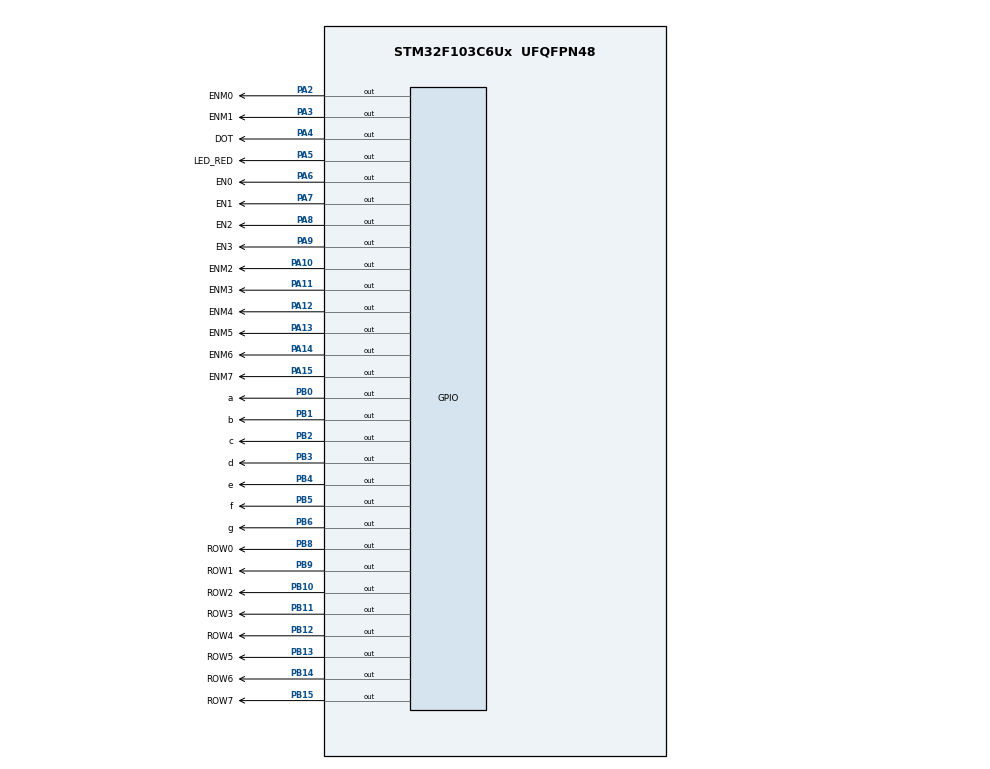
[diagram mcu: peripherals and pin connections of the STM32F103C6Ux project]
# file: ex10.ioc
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Mcu.Family=STM32F1
Mcu.Name=STM32F103C6Ux
Mcu.Package=UFQFPN48
NVIC.PriorityGroup=NVIC_PRIORITYGROUP_4
NVIC.TIM2_IRQn=true\:0\:0\:false\:false\:true\:true\:true
PA10.GPIO_Label=ENM2
PA10.Signal=GPIO_Output
PA11.GPIO_Label=ENM3
PA11.Signal=GPIO_Output
PA12.GPIO_Label=ENM4
PA12.Signal=GPIO_Output
PA13.GPIO_Label=ENM5
PA13.Signal=GPIO_Output
PA14.GPIO_Label=ENM6
PA14.Signal=GPIO_Output
PA15.GPIO_Label=ENM7
PA15.Signal=GPIO_Output
PA2.GPIO_Label=ENM0
PA2.Signal=GPIO_Output
PA3.GPIO_Label=ENM1
PA3.Signal=GPIO_Output
PA4.GPIO_Label=DOT
PA4.Signal=GPIO_Output
PA5.GPIO_Label=LED_RED
PA5.Signal=GPIO_Output
PA6.GPIO_Label=EN0
PA6.Signal=GPIO_Output
PA7.GPIO_Label=EN1
PA7.Signal=GPIO_Output
PA8.GPIO_Label=EN2
PA8.Signal=GPIO_Output
PA9.GPIO_Label=EN3
PA9.Signal=GPIO_Output
PB0.GPIO_Label=a
PB0.Signal=GPIO_Output
PB1.GPIO_Label=b
PB1.Signal=GPIO_Output
PB10.GPIO_Label=ROW2
PB10.Signal=GPIO_Output
PB11.GPIO_Label=ROW3
PB11.Signal=GPIO_Output
PB12.GPIO_Label=ROW4
PB12.Signal=GPIO_Output
PB13.GPIO_Label=ROW5
PB13.Signal=GPIO_Output
PB14.GPIO_Label=ROW6
PB14.Signal=GPIO_Output
PB15.GPIO_Label=ROW7
PB15.Signal=GPIO_Output
PB2.GPIO_Label=c
PB2.Signal=GPIO_Output
PB3.GPIO_Label=d
PB3.Signal=GPIO_Output
PB4.GPIO_Label=e
PB4.Signal=GPIO_Output
PB5.GPIO_Label=f
PB5.Signal=GPIO_Output
PB6.GPIO_Label=g
PB6.Signal=GPIO_Output
PB8.GPIO_Label=ROW0
PB8.Signal=GPIO_Output
PB9.GPIO_Label=ROW1
PB9.Signal=GPIO_Output
ProjectManager.HeapSize=0x200
ProjectManager.StackSize=0x400
ProjectManager.TargetToolchain=STM32CubeIDE
RCC.APB1Freq_Value=8000000
RCC.APB2Freq_Value=8000000
TIM2.Period=9
TIM2.Prescaler=7999
VP_SYS_VS_ND.Mode=No_Debug
VP_TIM2_VS_ClockSourceINT.Mode=Internal
board=custom

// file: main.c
/* USER CODE BEGIN Header */
/**
  ******************************************************************************
  * @file           : main.c
  * @brief          : Main program body
  ******************************************************************************
  * @attention
  *
  * <h2><center>&copy; Copyright (c) 2022 STMicroelectronics.
  * All rights reserved.</center></h2>
  *
  * This software component is licensed by ST under BSD 3-Clause license,
  * the "License"; You may not use this file except in compliance with the
  * License. You may obtain a copy of the License at:
  *                        opensource.org/licenses/BSD-3-Clause
  *
  ******************************************************************************
  */
/* USER CODE END Header */
#include "main.h"

TIM_HandleTypeDef htim2;

void SystemClock_Config(void);
static void MX_GPIO_Init(void);
static void MX_TIM2_Init(void);

/* USER CODE BEGIN 0 */
int timer0_counter = 0;
int timer0_flag = 0;
int timer1_counter = 0;
int timer1_flag = 0;
int TIMER_CYCLE = 10;
int index_led = 0;
int index_led_matrix = 0;

int i = 0;
int j;
void setTimer0(int duration){
	timer0_counter = duration/TIMER_CYCLE;
	timer0_flag= 0;
}
void timer_run0(){
	if (timer0_counter > 0){
		timer0_counter--;
		if (timer0_counter == 0) timer0_flag = 1;
	}
}
void setTimer1(int duration){
	timer1_counter = duration/TIMER_CYCLE;
	timer1_flag= 0;
}
void timer_run1(){
	if (timer1_counter > 0){
		timer1_counter--;
		if (timer1_counter == 0) timer1_flag = 1;
	}
}
/* USER CODE END 0 */

int main(void)
{

  /* MCU Configuration--------------------------------------------------------*/

  /* Reset of all peripherals, Initializes the Flash interface and the Systick. */
  HAL_Init();

  /* Configure the system clock */
  SystemClock_Config();

  /* Initialize all configured peripherals */
  MX_GPIO_Init();
  MX_TIM2_Init();
  /* USER CODE BEGIN 2 */
  HAL_TIM_Base_Start_IT(&htim2);
  /* USER CODE END 2 */

  /* Infinite loop */
  /* USER CODE BEGIN WHILE */
    setTimer0(50);
    setTimer1(500);
    while (1)
    {
    /* USER CODE END WHILE */
     if(timer0_flag == 1){
    	 shift_right(index_led_matrix++,j++);
    	 setTimer0(50);
     }
     if (timer1_flag == 1){
    	 i++;
    	 setTimer1(500);
     }
     if (i == 7) i=0;

    }
}

void SystemClock_Config(void)
{
  RCC_OscInitTypeDef RCC_OscInitStruct = {0};
  RCC_ClkInitTypeDef RCC_ClkInitStruct = {0};

  /** Initializes the RCC Oscillators according to the specified parameters
  * in the RCC_OscInitTypeDef structure.
  */
  RCC_OscInitStruct.OscillatorType = RCC_OSCILLATORTYPE_HSI;
  RCC_OscInitStruct.HSIState = RCC_HSI_ON;
  RCC_OscInitStruct.HSICalibrationValue = RCC_HSICALIBRATION_DEFAULT;
  RCC_OscInitStruct.PLL.PLLState = RCC_PLL_NONE;
  if (HAL_RCC_OscConfig(&RCC_OscInitStruct) != HAL_OK)
  {
    Error_Handler();
  }
  /** Initializes the CPU, AHB and APB buses clocks
  */
  RCC_ClkInitStruct.ClockType = RCC_CLOCKTYPE_HCLK|RCC_CLOCKTYPE_SYSCLK
                              |RCC_CLOCKTYPE_PCLK1|RCC_CLOCKTYPE_PCLK2;
  RCC_ClkInitStruct.SYSCLKSource = RCC_SYSCLKSOURCE_HSI;
  RCC_ClkInitStruct.AHBCLKDivider = RCC_SYSCLK_DIV1;
  RCC_ClkInitStruct.APB1CLKDivider = RCC_HCLK_DIV1;
  RCC_ClkInitStruct.APB2CLKDivider = RCC_HCLK_DIV1;

  if (HAL_RCC_ClockConfig(&RCC_ClkInitStruct, FLASH_LATENCY_0) != HAL_OK)
  {
    Error_Handler();
  }
}

static void MX_TIM2_Init(void)
{

  TIM_ClockConfigTypeDef sClockSourceConfig = {0};
  TIM_MasterConfigTypeDef sMasterConfig = {0};

  htim2.Instance = TIM2;
  htim2.Init.Prescaler = 7999;
  htim2.Init.CounterMode = TIM_COUNTERMODE_UP;
  htim2.Init.Period = 9;
  htim2.Init.ClockDivision = TIM_CLOCKDIVISION_DIV1;
  htim2.Init.AutoReloadPreload = TIM_AUTORELOAD_PRELOAD_DISABLE;
  if (HAL_TIM_Base_Init(&htim2) != HAL_OK)
  {
    Error_Handler();
  }
  sClockSourceConfig.ClockSource = TIM_CLOCKSOURCE_INTERNAL;
  if (HAL_TIM_ConfigClockSource(&htim2, &sClockSourceConfig) != HAL_OK)
  {
    Error_Handler();
  }
  sMasterConfig.MasterOutputTrigger = TIM_TRGO_RESET;
  sMasterConfig.MasterSlaveMode = TIM_MASTERSLAVEMODE_DISABLE;
  if (HAL_TIMEx_MasterConfigSynchronization(&htim2, &sMasterConfig) != HAL_OK)
  {
    Error_Handler();
  }

}

static void MX_GPIO_Init(void)
{
  GPIO_InitTypeDef GPIO_InitStruct = {0};

  /* GPIO Ports Clock Enable */
  __HAL_RCC_GPIOA_CLK_ENABLE();
  __HAL_RCC_GPIOB_CLK_ENABLE();

  /*Configure GPIO pin Output Level */
  HAL_GPIO_WritePin(GPIOA, ENM0_Pin|ENM1_Pin|DOT_Pin|LED_RED_Pin
                          |EN0_Pin|EN1_Pin|EN2_Pin|EN3_Pin
                          |ENM2_Pin|ENM3_Pin|ENM4_Pin|ENM5_Pin
                          |ENM6_Pin|ENM7_Pin, GPIO_PIN_RESET);

  /*Configure GPIO pin Output Level */
  HAL_GPIO_WritePin(GPIOB, a_Pin|b_Pin|c_Pin|ROW2_Pin
                          |ROW3_Pin|ROW4_Pin|ROW5_Pin|ROW6_Pin
                          |ROW7_Pin|d_Pin|e_Pin|f_Pin
                          |g_Pin|ROW0_Pin|ROW1_Pin, GPIO_PIN_RESET);

  /*Configure GPIO pins : ENM0_Pin ENM1_Pin DOT_Pin LED_RED_Pin
                           EN0_Pin EN1_Pin EN2_Pin EN3_Pin
                           ENM2_Pin ENM3_Pin ENM4_Pin ENM5_Pin
                           ENM6_Pin ENM7_Pin */
  GPIO_InitStruct.Pin = ENM0_Pin|ENM1_Pin|DOT_Pin|LED_RED_Pin
                          |EN0_Pin|EN1_Pin|EN2_Pin|EN3_Pin
                          |ENM2_Pin|ENM3_Pin|ENM4_Pin|ENM5_Pin
                          |ENM6_Pin|ENM7_Pin;
  GPIO_InitStruct.Mode = GPIO_MODE_OUTPUT_PP;
  GPIO_InitStruct.Pull = GPIO_NOPULL;
  GPIO_InitStruct.Speed = GPIO_SPEED_FREQ_LOW;
  HAL_GPIO_Init(GPIOA, &GPIO_InitStruct);

  /*Configure GPIO pins : a_Pin b_Pin c_Pin ROW2_Pin
                           ROW3_Pin ROW4_Pin ROW5_Pin ROW6_Pin
                           ROW7_Pin d_Pin e_Pin f_Pin
                           g_Pin ROW0_Pin ROW1_Pin */
  GPIO_InitStruct.Pin = a_Pin|b_Pin|c_Pin|ROW2_Pin
                          |ROW3_Pin|ROW4_Pin|ROW5_Pin|ROW6_Pin
                          |ROW7_Pin|d_Pin|e_Pin|f_Pin
                          |g_Pin|ROW0_Pin|ROW1_Pin;
  GPIO_InitStruct.Mode = GPIO_MODE_OUTPUT_PP;
  GPIO_InitStruct.Pull = GPIO_NOPULL;
  GPIO_InitStruct.Speed = GPIO_SPEED_FREQ_LOW;
  HAL_GPIO_Init(GPIOB, &GPIO_InitStruct);

}

/* USER CODE BEGIN 4 */
const int MAX_LED_MATRIX = 8;
uint16_t matrix_buffer[16] = {0x0100 , 0x0200 , 0x0400 , 0x0800 , 0x1000 , 0x2000 , 0x4000 , 0x8000,0x0000,0x0000,0x0000,0x0000,0x0000,0x0000,0x0000,0x0000 };
uint16_t D_character[8] = {0xffff,0xffff,0xC00C,0xC00C,0xC00C,0xC00C,0xffff,0x7ff8};
/*void updateLEDMatrix (int index){
	switch ( index ) {
		case 0:
			GPIOA->ODR = A_character[index];
            GPIOB->ODR = matrix_buffer[index];
			break ;
		case 1:
			GPIOA->ODR = A_character[index];
            GPIOB->ODR = matrix_buffer[index];
			break ;
		case 2:
			GPIOA->ODR = A_character[index];
            GPIOB->ODR = matrix_buffer[index];
			break ;
		case 3:
			GPIOA->ODR = A_character[index];
            GPIOB->ODR = matrix_buffer[index];
			break ;
		case 4:
			GPIOA->ODR = A_character[index];
            GPIOB->ODR = matrix_buffer[index];
			break ;
		case 5:
			GPIOA->ODR = A_character[index];
            GPIOB->ODR = matrix_buffer[index];
			break ;
		case 6:
			GPIOA->ODR = A_character[index];
            GPIOB->ODR = matrix_buffer[index];
			break ;
		case 7:
			GPIOA->ODR = A_character[index];
            GPIOB->ODR = matrix_buffer[index];
            index_led_matrix = 0;
			break ;
		default :
			break ;
	}
}*/
void shift_right(int index, int index1){
	switch ( index ) {
			case 0:
				GPIOA->ODR = D_character[index];
	            GPIOB->ODR = matrix_buffer[index1];
				break ;
			case 1:
				GPIOA->ODR = D_character[index];
	            GPIOB->ODR = matrix_buffer[index1];
				break ;
			case 2:
				GPIOA->ODR = D_character[index];
	            GPIOB->ODR = matrix_buffer[index1];
				break ;
			case 3:
				GPIOA->ODR = D_character[index];
	            GPIOB->ODR = matrix_buffer[index1];
				break ;
			case 4:
				GPIOA->ODR = D_character[index];
	            GPIOB->ODR = matrix_buffer[index1];
				break ;
			case 5:
				GPIOA->ODR = D_character[index];
	            GPIOB->ODR = matrix_buffer[index1];
				break ;
			case 6:
				GPIOA->ODR = D_character[index];
	            GPIOB->ODR = matrix_buffer[index1];
				break ;
			case 7:
				GPIOA->ODR = D_character[index];
	            GPIOB->ODR = matrix_buffer[index1];
	            index_led_matrix = 0;
	            j  = i;
				break ;
			default :
				break ;
		}
}
void HAL_TIM_PeriodElapsedCallback(TIM_HandleTypeDef * htim){
	timer_run0();
	timer_run1();
}
/* USER CODE END 4 */

void Error_Handler(void)
{
  __disable_irq();
  while (1)
  {
  }
}

/************************ (C) COPYRIGHT STMicroelectronics *****END OF FILE****/
